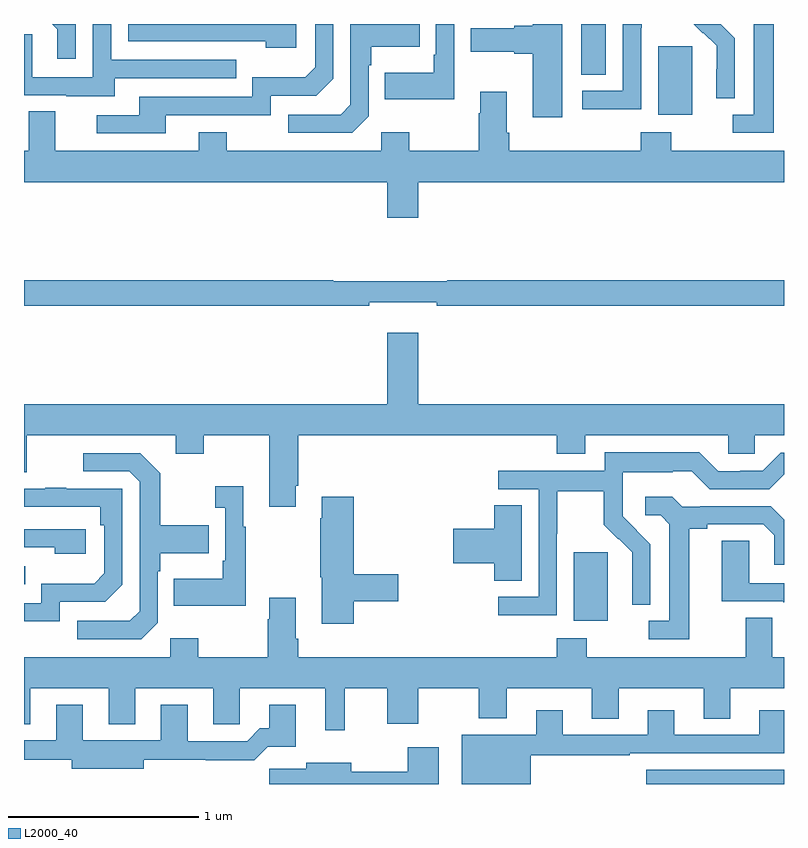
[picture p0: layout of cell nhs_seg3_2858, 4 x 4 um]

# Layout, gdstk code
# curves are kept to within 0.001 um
import gdstk
lib = gdstk.Library(unit=1e-6, precision=1e-09)
def R(c, l, rs):  # rectangles x0, y0, x1, y1
    for r in rs: c.add(gdstk.rectangle(r[:2], r[2:], *l))
def P(c, l, *ps):  # polygons
    for p in ps: c.add(gdstk.Polygon(p, *l))
L2000_40 = (2000, 40)

nhs_seg3_2858 = lib.new_cell('nhs_seg3_2858')
R(nhs_seg3_2858, L2000_40, [(262.275,712.4,263,712.474), (261.893,713.258,262.072,713.619), (259,713.451,259.007,713.547), (262.337,715.922,262.516,716.283), (261.932,716.134,262.063,716.4)])
P(nhs_seg3_2858, L2000_40, [(259.477,716.115),(260.117,716.115),(260.117,716.211),(259.458,716.211),(259.458,716.4),(259.362,716.4),(259.362,716.121),(259.044,716.121),(259.044,716.345),(259,716.345),(259,716.025),(259.223,716.025),(259.223,716.021),(259.477,716.021)],
  [(261.264,716.4),(261.168,716.4),(261.168,716.239),(261.156,716.239),(261.156,716.143),(260.899,716.143),(260.899,716.003),(261.264,716.003)],
  [(262.74,716.326),(262.667,716.399),(262.668,716.4),(262.524,716.4),(262.572,716.352),(262.575,716.355),(262.646,716.285),(262.646,716.162),(262.644,716.162),(262.644,716.008),(262.74,716.008)],
  [(262.248,716.38),(262.251,716.38),(262.251,716.4),(262.152,716.4),(262.152,716.049),(261.939,716.049),(261.939,715.951),(262.248,715.951)],
  [(260.814,715.914),(260.814,716.183),(260.827,716.183),(260.827,716.279),(261.083,716.279),(261.083,716.4),(260.718,716.4),(260.718,715.974),(260.667,715.923),(260.391,715.923),(260.391,715.827),(260.727,715.827)],
  [(259.747,715.92),(260.298,715.92),(260.298,716.022),(260.538,716.022),(260.628,716.112),(260.628,716.4),(260.532,716.4),(260.532,716.172),(260.479,716.119),(260.202,716.119),(260.202,716.016),(259.607,716.016),(259.607,715.92),(259.383,715.92),(259.383,715.824),(259.747,715.824)],
  [(260.434,716.4),(259.548,716.4),(259.548,716.31),(260.273,716.31),(260.273,716.276),(260.434,716.276)],
  [(261.832,716.4),(261.677,716.4),(261.677,716.39),(261.581,716.39),(261.581,716.377),(261.351,716.377),(261.351,716.255),(261.581,716.255),(261.581,716.243),(261.677,716.243),(261.677,715.908),(261.832,715.908)],
  [(259.272,716.4),(259.148,716.4),(259.175,716.373),(259.175,716.217),(259.272,716.217)],
  [(262.945,716.4),(262.841,716.4),(262.841,715.923),(262.731,715.923),(262.731,715.827),(262.945,715.827)],
  [(261.076,715.568),(263,715.568),(263,715.732),(262.407,715.732),(262.407,715.831),(262.247,715.831),(262.247,715.732),(261.554,715.732),(261.554,715.828),(261.541,715.828),(261.541,716.044),(261.401,716.044),(261.401,715.931),(261.394,715.931),(261.394,715.732),(261.027,715.732),(261.027,715.831),(260.88,715.831),(260.88,715.732),(260.067,715.732),(260.067,715.831),(259.919,715.831),(259.919,715.732),(259.165,715.732),(259.165,715.94),(259.025,715.94),(259.025,715.732),(259,715.732),(259,715.568),(260.912,715.568),(260.912,715.38),(261.076,715.38)],
  [(260.816,714.935),(261.172,714.935),(261.172,714.916),(263,714.916),(263,715.052),(261.227,715.052),(261.227,715.045),(260.627,715.045),(260.627,715.052),(259,715.052),(259,714.916),(260.816,714.916)],
  [(260.431,713.971),(260.444,713.971),(260.444,714.236),(261.803,714.236),(261.803,714.137),(261.955,714.137),(261.955,714.236),(262.707,714.236),(262.707,714.138),(262.845,714.138),(262.845,714.236),(263,714.236),(263,714.4),(261.076,714.4),(261.076,714.775),(260.912,714.775),(260.912,714.4),(259,714.4),(259,714.042),(259.015,714.042),(259.015,714.236),(259.799,714.236),(259.799,714.137),(259.947,714.137),(259.947,714.236),(260.291,714.236),(260.291,713.859),(260.431,713.859)],
  [(261.804,713.716),(261.807,713.716),(261.807,713.94),(262.051,713.94),(262.051,713.765),(262.128,713.688),(262.131,713.691),(262.202,713.621),(262.202,713.498),(262.2,713.498),(262.2,713.344),(262.296,713.344),(262.296,713.662),(262.15,713.81),(262.15,713.907),(262.152,713.907),(262.152,714.041),(262.415,714.041),(262.415,714.045),(262.515,714.045),(262.608,713.952),(262.923,713.952),(263,714.029),(263,714.144),(262.983,714.144),(262.887,714.048),(262.769,714.048),(262.769,714.045),(262.653,714.045),(262.553,714.145),(262.056,714.145),(262.056,714.048),(261.495,714.048),(261.495,713.952),(261.708,713.952),(261.708,713.385),(261.495,713.385),(261.495,713.287),(261.804,713.287)],
  [(259.704,713.25),(259.704,713.519),(259.717,713.519),(259.717,713.615),(259.973,713.615),(259.973,713.763),(259.717,713.763),(259.717,714.035),(259.611,714.141),(259.311,714.141),(259.311,714.045),(259.554,714.045),(259.608,713.991),(259.608,713.31),(259.557,713.259),(259.281,713.259),(259.281,713.163),(259.617,713.163)],
  [(260.166,713.755),(260.155,713.755),(260.155,713.968),(260.007,713.968),(260.007,713.855),(260.058,713.855),(260.058,713.575),(260.046,713.575),(260.046,713.479),(259.789,713.479),(259.789,713.339),(260.166,713.339)],
  [(259.188,713.358),(259.428,713.358),(259.518,713.448),(259.518,713.955),(259.223,713.955),(259.223,713.96),(259.111,713.96),(259.111,713.955),(259,713.955),(259,713.859),(259.402,713.859),(259.402,713.762),(259.422,713.762),(259.422,713.508),(259.369,713.455),(259.092,713.455),(259.092,713.352),(259,713.352),(259,713.256),(259.188,713.256)],
  [(260.735,713.362),(260.971,713.362),(260.971,713.504),(260.735,713.504),(260.735,713.911),(260.567,713.911),(260.567,713.798),(260.56,713.798),(260.56,713.487),(260.567,713.487),(260.567,713.244),(260.735,713.244)],
  [(262.501,713.744),(262.597,713.744),(262.597,713.766),(262.892,713.766),(262.949,713.709),(262.949,713.553),(263,713.553),(263,713.792),(262.93,713.862),(262.558,713.862),(262.558,713.859),(262.464,713.859),(262.412,713.911),(262.269,713.911),(262.269,713.814),(262.35,713.814),(262.397,713.767),(262.397,713.259),(262.287,713.259),(262.287,713.163),(262.501,713.163)],
  [(261.619,713.867),(261.476,713.867),(261.476,713.744),(261.258,713.744),(261.258,713.561),(261.476,713.561),(261.476,713.47),(261.619,713.47)],
  [(259.324,713.742),(259,713.742),(259,713.646),(259.163,713.646),(259.163,713.612),(259.324,713.612)],
  [(263,713.457),(262.818,713.457),(262.818,713.681),(262.673,713.681),(262.673,713.361),(262.997,713.361),(262.997,713.357),(263,713.357)],
  [(260.689,712.904),(260.912,712.904),(260.912,712.716),(261.076,712.716),(261.076,712.904),(261.394,712.904),(261.394,712.745),(261.541,712.745),(261.541,712.904),(261.989,712.904),(261.989,712.744),(262.129,712.744),(262.129,712.904),(262.577,712.904),(262.577,712.744),(262.717,712.744),(262.717,712.904),(263,712.904),(263,713.068),(262.939,713.068),(262.939,713.276),(262.799,713.276),(262.799,713.068),(261.963,713.068),(261.963,713.167),(261.803,713.167),(261.803,713.068),(260.444,713.068),(260.444,713.164),(260.431,713.164),(260.431,713.38),(260.291,713.38),(260.291,713.267),(260.284,713.267),(260.284,713.068),(259.916,713.068),(259.916,713.167),(259.77,713.167),(259.77,713.068),(259,713.068),(259,712.714),(259.033,712.714),(259.033,712.904),(259.445,712.904),(259.445,712.715),(259.585,712.715),(259.585,712.904),(259.997,712.904),(259.997,712.714),(260.136,712.714),(260.136,712.904),(260.585,712.904),(260.585,712.683),(260.689,712.683)],
  [(259.63,712.528),(259.957,712.528),(259.957,712.526),(260.213,712.526),(260.282,712.595),(260.431,712.595),(260.431,712.816),(260.291,712.816),(260.291,712.693),(260.242,712.693),(260.175,712.626),(259.861,712.626),(259.861,712.816),(259.721,712.816),(259.721,712.629),(259.309,712.63),(259.309,712.816),(259.169,712.816),(259.169,712.629),(259,712.629),(259,712.528),(259.25,712.528),(259.25,712.481),(259.63,712.481)],
  [(261.667,712.551),(262.187,712.551),(262.187,712.563),(263,712.563),(263,712.789),(262.871,712.789),(262.871,712.659),(262.423,712.659),(262.423,712.789),(262.283,712.789),(262.283,712.659),(261.835,712.659),(261.835,712.789),(261.695,712.789),(261.695,712.66),(261.305,712.66),(261.305,712.4),(261.667,712.4)],
  [(261.184,712.594),(261.019,712.594),(261.019,712.464),(260.722,712.464),(260.722,712.513),(260.486,712.513),(260.486,712.481),(260.291,712.481),(260.291,712.4),(261.184,712.4)])

lib.write_gds('nhs_seg3_2858.gds')
